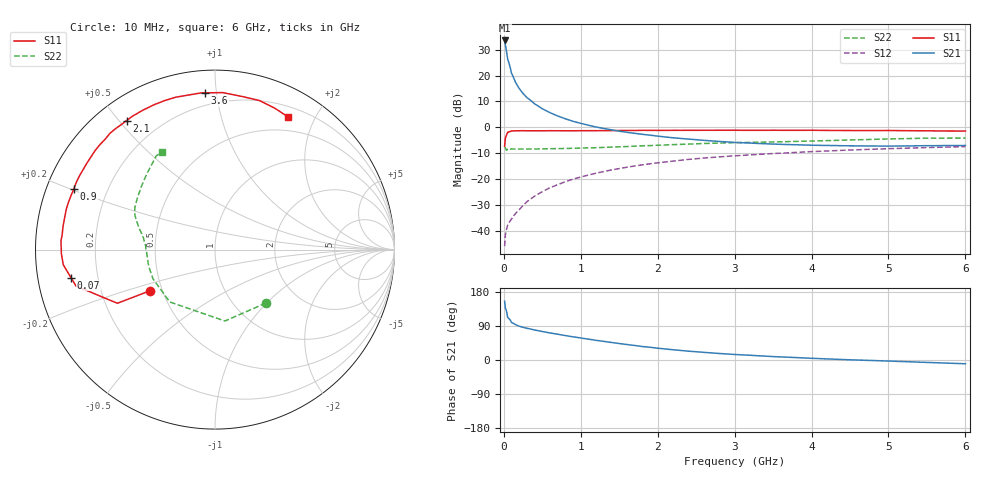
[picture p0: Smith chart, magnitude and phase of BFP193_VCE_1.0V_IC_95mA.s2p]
! Infineon Technologies  Discrete & RF Semiconductors
! BFP193
! VCE =  1.0 V,  IC =  95 mA
! Common Emitter S-Parameters:  Jan 2017
# GHz  S  MA  R  50
!  f  S11  S21  S12  S22
! GHz  MAG  ANG  MAG  ANG  MAG  ANG  MAG  ANG
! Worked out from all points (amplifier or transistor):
!   77 points, 10 MHz to 6 GHz, reference 50 ohm
!   highest |S21| = 33.6 dB at 10 MHz (marker M1)
!   |S21| within 3 dB of that: start of sweep to 27.47 MHz
!   unconditionally stable (mu >= 1): start of sweep to 16.86 MHz; 143.4 MHz to end of sweep
!   at 130 MHz: K = 0.96, MSG = 26.6 dB, |S12| = -34.2 dB
!   at 2.2 GHz: K = 1.10, MAG = 2.6 dB, |S12| = -13.1 dB
!   at 6 GHz: K = 1.08, MAG = -1.5 dB, |S12| = -7.5 dB
!   S11 on the Smith chart (normalised r, x): 10 MHz: 0.43, -0.24; 70 MHz: 0.10, -0.10; 900 MHz: 0.08, +0.21; 2.1 GHz: 0.09, +0.52; 3.6 GHz: 0.13, +0.93; 6 GHz: 0.32, +1.64
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0.01  0.4309 -147.7  47.94 155.2  0.005 63.8  0.4112 -46.4
0.02  0.6206 -151.2  38.96 137.2  0.0082 53.1  0.4016 -82.1
0.05  0.8007 -165.3  20.82 112.0  0.0129 48.9  0.3855 -130.8
0.07  0.8178 -169.0  16.84 108.6  0.0144 51.0  0.376 -140.3
0.1  0.8495 -174.3  11.09 98.9  0.0168 53.5  0.3819 -154.8
0.15  0.8562 -178.5  7.482 93.3  0.0213 58.0  0.3799 -163.6
0.2  0.8573 178.9  5.629 89.2  0.0254 62.2  0.3802 -168.5
0.25  0.8595 176.6  4.511 86.1  0.0308 64.5  0.3789 -171.4
0.3  0.8555 174.6  3.765 83.7  0.0362 67.3  0.3795 -173.8
0.4  0.8566 171.2  2.844 79.1  0.0463 68.9  0.3807 -176.8
0.5  0.8564 167.9  2.283 75.1  0.0567 69.5  0.3818 -179.0
0.6  0.8585 165.0  1.92 71.4  0.0678 68.9  0.3857 179.1
0.7  0.858 162.4  1.656 68.1  0.0774 69.1  0.3861 177.4
0.9  0.856 156.6  1.306 61.2  0.0994 67.2  0.3923 174.9
1.1  0.8595 151.2  1.096 55.0  0.1192 64.5  0.3998 172.2
1.5  0.8664 140.4  0.841 43.5  0.1588 58.7  0.4192 167.6
2.1  0.8714 124.4  0.65 29.1  0.2135 49.4  0.4551 161.5
3.1  0.8749 102.6  0.502 13.5  0.2861 34.1  0.5074 150.9
3.6  0.8748 93.6  0.468 8.1  0.3155 27.5  0.5245 144.4
4.1  0.8727 85.7  0.447 3.7  0.3427 20.9  0.5469 137.3
5.1  0.8635 72.2  0.434 -3.5  0.389 8.7  0.5984 125.1
6  0.8444 61.4  0.444 -9.9  0.4223 -1.6  0.6187 118.3
